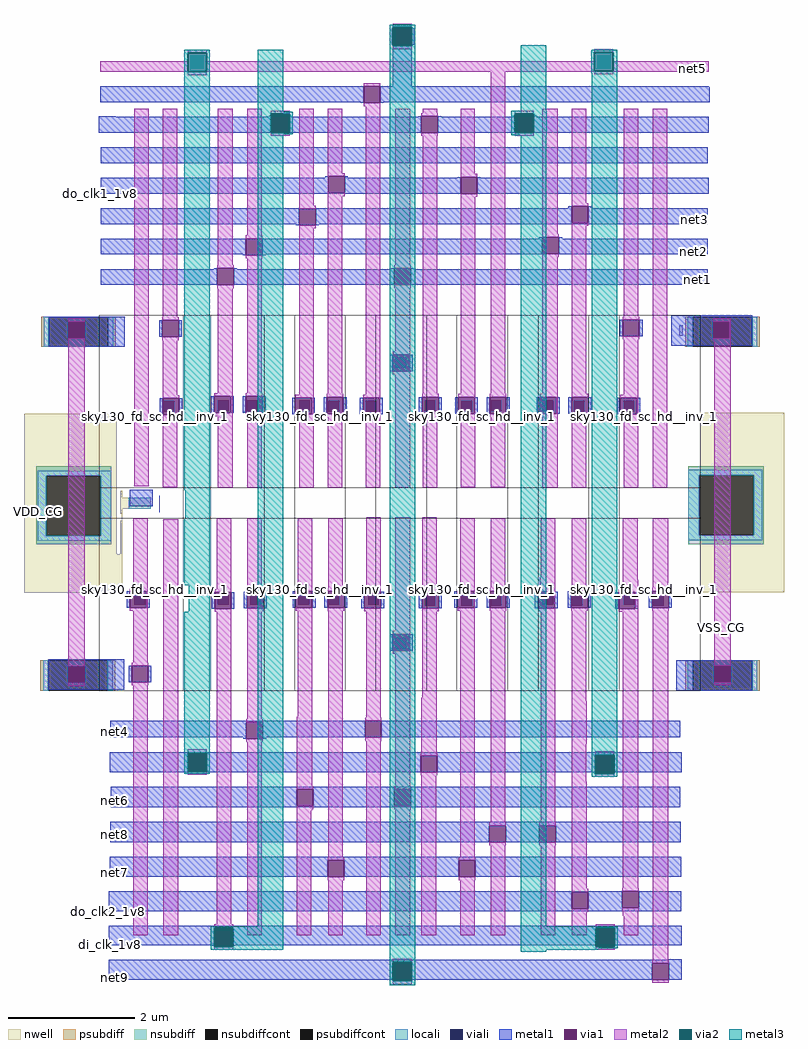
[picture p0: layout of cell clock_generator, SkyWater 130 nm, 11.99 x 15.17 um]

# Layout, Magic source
magic
tech sky130A
magscale 1 2
<< nwell >>
rect -1650 1348 -1358 1792
rect -1346 1526 -1340 1548
rect -1346 1492 -1250 1526
rect -1346 1476 -1340 1492
rect -1342 1454 -1340 1476
rect -1346 1348 -1340 1454
rect -1650 1228 -1340 1348
rect 484 1228 748 1794
rect -1650 1226 -1358 1228
<< psubdiff >>
rect -1596 2002 -1572 2098
rect -1384 2002 -1360 2098
rect 436 2002 460 2098
rect 648 2002 672 2098
rect -1598 918 -1574 1014
rect -1386 918 -1362 1014
rect 436 918 460 1014
rect 648 918 672 1014
<< nsubdiff >>
rect -1612 1596 -1374 1626
rect -1612 1406 -1580 1596
rect -1408 1406 -1374 1596
rect -1612 1380 -1374 1406
rect 446 1598 684 1626
rect 446 1408 480 1598
rect 652 1408 684 1598
rect 446 1380 684 1408
<< psubdiffcont >>
rect -1572 2002 -1384 2098
rect 460 2002 648 2098
rect -1574 918 -1386 1014
rect 460 918 648 1014
<< nsubdiffcont >>
rect -1580 1406 -1408 1596
rect 480 1408 652 1598
<< locali >>
rect -1588 2002 -1572 2098
rect -1384 2002 -1368 2098
rect 417 2070 432 2071
rect 417 2037 428 2070
rect 444 2002 460 2098
rect 648 2002 664 2098
rect -1606 1596 -1374 1612
rect -1606 1406 -1580 1596
rect -1408 1406 -1374 1596
rect 446 1598 680 1614
rect -1320 1492 -1250 1526
rect -1606 1390 -1374 1406
rect 446 1408 480 1598
rect 652 1408 680 1598
rect 446 1392 680 1408
rect -1590 918 -1574 1014
rect -1386 918 -1370 1014
rect 444 918 460 1014
rect 648 918 664 1014
<< viali >>
rect -478 1936 -444 1970
rect -1210 1798 -1176 1832
rect -1038 1800 -1004 1834
rect -946 1800 -912 1834
rect -782 1800 -748 1834
rect -690 1798 -656 1832
rect -572 1798 -538 1832
rect -386 1800 -352 1834
rect -270 1798 -236 1832
rect -178 1800 -144 1834
rect -14 1800 20 1834
rect 84 1798 118 1832
rect 242 1798 276 1832
rect -1302 1188 -1268 1222
rect -1038 1188 -1004 1222
rect -936 1188 -902 1222
rect -784 1188 -750 1222
rect -690 1188 -656 1222
rect -564 1188 -530 1222
rect -386 1186 -352 1220
rect -270 1186 -236 1220
rect -178 1186 -144 1220
rect -14 1188 20 1222
rect 78 1186 112 1220
rect 242 1188 276 1222
rect 334 1186 368 1220
rect -478 1050 -444 1084
<< metal1 >>
rect -486 3008 -426 3012
rect -490 2956 -480 3008
rect -428 2956 -418 3008
rect -486 2824 -426 2956
rect -1410 2774 -578 2824
rect -588 2772 -578 2774
rect -526 2822 510 2824
rect -526 2774 514 2822
rect -526 2772 -516 2774
rect -1414 2728 -1360 2730
rect -878 2728 -868 2732
rect -1414 2680 -868 2728
rect -816 2728 -806 2732
rect -406 2728 -396 2730
rect -816 2680 -396 2728
rect -1414 2678 -396 2680
rect -344 2728 -334 2730
rect -106 2728 -96 2732
rect -344 2680 -96 2728
rect -44 2728 -34 2732
rect -44 2680 510 2728
rect -344 2678 510 2680
rect -1408 2582 508 2632
rect -700 2536 -690 2540
rect -1408 2488 -690 2536
rect -638 2536 -628 2540
rect -282 2536 -272 2538
rect -638 2488 -272 2536
rect -1408 2486 -272 2488
rect -220 2536 -210 2538
rect -220 2486 510 2536
rect 68 2440 78 2446
rect -1408 2438 78 2440
rect -1408 2390 -782 2438
rect -792 2386 -782 2390
rect -730 2394 78 2438
rect 130 2440 140 2446
rect 130 2394 508 2440
rect -730 2390 508 2394
rect -730 2386 -720 2390
rect -24 2344 -14 2348
rect -1408 2294 -950 2344
rect -960 2292 -950 2294
rect -898 2296 -14 2344
rect 38 2344 48 2348
rect 38 2296 508 2344
rect -898 2294 508 2296
rect -898 2292 -888 2294
rect -1050 2248 -1040 2250
rect -1408 2198 -1040 2248
rect -988 2248 -978 2250
rect -492 2248 -482 2250
rect -988 2198 -482 2248
rect -430 2248 -420 2250
rect -430 2198 508 2248
rect -1572 2082 -1332 2098
rect -1572 2030 -1510 2082
rect -1458 2030 -1332 2082
rect -1224 2034 -1214 2086
rect -1162 2034 -1152 2086
rect 230 2036 240 2088
rect 292 2036 302 2088
rect 392 2082 648 2102
rect -1572 2002 -1332 2030
rect 392 2030 524 2082
rect 576 2030 648 2082
rect 392 2006 648 2030
rect -496 1926 -486 1978
rect -434 1926 -424 1978
rect -1222 1788 -1212 1840
rect -1160 1788 -1150 1840
rect -1060 1794 -1050 1846
rect -998 1794 -988 1846
rect -960 1794 -950 1846
rect -898 1794 -888 1846
rect -804 1790 -794 1842
rect -742 1790 -732 1842
rect -704 1792 -694 1844
rect -642 1792 -632 1844
rect -590 1790 -580 1842
rect -528 1790 -518 1842
rect -404 1792 -394 1844
rect -342 1792 -332 1844
rect -290 1792 -280 1844
rect -228 1792 -218 1844
rect -190 1792 -180 1844
rect -128 1792 -118 1844
rect -32 1792 -22 1844
rect 30 1792 40 1844
rect 68 1792 78 1844
rect 130 1792 140 1844
rect 222 1790 232 1842
rect 284 1790 294 1842
rect -1316 1500 -1244 1552
rect -1224 1480 -1222 1532
rect -1326 1180 -1316 1232
rect -1264 1180 -1254 1232
rect -1058 1176 -1048 1228
rect -996 1176 -986 1228
rect -956 1178 -946 1230
rect -894 1178 -884 1230
rect -802 1180 -792 1232
rect -740 1180 -730 1232
rect -702 1180 -692 1232
rect -640 1180 -630 1232
rect -586 1178 -576 1230
rect -524 1178 -514 1230
rect -404 1178 -394 1230
rect -342 1178 -332 1230
rect -292 1180 -282 1232
rect -230 1180 -220 1232
rect -190 1180 -180 1232
rect -128 1180 -118 1232
rect -38 1178 -28 1230
rect 24 1178 34 1230
rect 66 1180 76 1232
rect 128 1180 138 1232
rect 216 1176 226 1228
rect 278 1176 288 1228
rect 322 1180 332 1232
rect 384 1180 394 1232
rect -496 1044 -486 1096
rect -434 1044 -424 1096
rect -1574 994 -1334 1016
rect 408 996 648 1014
rect -1574 942 -1510 994
rect -1458 942 -1334 994
rect -1320 944 -1310 996
rect -1258 944 -1248 996
rect 408 944 528 996
rect 580 944 648 996
rect -1574 920 -1334 942
rect 408 918 648 944
rect -1378 818 -574 822
rect -1378 770 -948 818
rect -958 766 -948 770
rect -896 770 -574 818
rect -522 770 420 822
rect -896 766 -886 770
rect -1380 718 426 724
rect -1380 666 -1130 718
rect -1078 712 426 718
rect -1078 666 -398 712
rect -1380 660 -398 666
rect -346 660 154 712
rect 206 660 426 712
rect -1376 606 420 614
rect -1376 554 -790 606
rect -738 554 -482 606
rect -430 554 420 606
rect -1376 550 420 554
rect -1378 492 422 504
rect -1378 440 -182 492
rect -130 440 -24 492
rect 28 440 422 492
rect -1380 382 424 394
rect -1380 330 -692 382
rect -640 330 -278 382
rect -226 330 424 382
rect -1382 282 238 284
rect -1382 230 78 282
rect 130 232 238 282
rect 290 232 424 284
rect 130 230 424 232
rect -1382 222 424 230
rect -1382 166 426 176
rect -1382 164 160 166
rect -1382 114 -1048 164
rect -1056 112 -1048 114
rect -996 114 160 164
rect 212 114 426 166
rect -996 112 -984 114
rect 384 68 426 70
rect -1382 58 426 68
rect -1382 6 -480 58
rect -428 6 332 58
rect 384 6 426 58
<< via1 >>
rect -480 2956 -428 3008
rect -578 2772 -526 2824
rect -868 2680 -816 2732
rect -396 2678 -344 2730
rect -96 2680 -44 2732
rect -690 2488 -638 2540
rect -272 2486 -220 2538
rect -782 2386 -730 2438
rect 78 2394 130 2446
rect -950 2292 -898 2344
rect -14 2296 38 2348
rect -1040 2198 -988 2250
rect -482 2198 -430 2250
rect -1510 2030 -1458 2082
rect -1214 2034 -1162 2086
rect 240 2036 292 2088
rect 524 2030 576 2082
rect -486 1970 -434 1978
rect -486 1936 -478 1970
rect -478 1936 -444 1970
rect -444 1936 -434 1970
rect -486 1926 -434 1936
rect -1212 1832 -1160 1840
rect -1212 1798 -1210 1832
rect -1210 1798 -1176 1832
rect -1176 1798 -1160 1832
rect -1212 1788 -1160 1798
rect -1050 1834 -998 1846
rect -1050 1800 -1038 1834
rect -1038 1800 -1004 1834
rect -1004 1800 -998 1834
rect -1050 1794 -998 1800
rect -950 1834 -898 1846
rect -950 1800 -946 1834
rect -946 1800 -912 1834
rect -912 1800 -898 1834
rect -950 1794 -898 1800
rect -794 1834 -742 1842
rect -794 1800 -782 1834
rect -782 1800 -748 1834
rect -748 1800 -742 1834
rect -794 1790 -742 1800
rect -694 1832 -642 1844
rect -694 1798 -690 1832
rect -690 1798 -656 1832
rect -656 1798 -642 1832
rect -694 1792 -642 1798
rect -580 1832 -528 1842
rect -580 1798 -572 1832
rect -572 1798 -538 1832
rect -538 1798 -528 1832
rect -580 1790 -528 1798
rect -394 1834 -342 1844
rect -394 1800 -386 1834
rect -386 1800 -352 1834
rect -352 1800 -342 1834
rect -394 1792 -342 1800
rect -280 1832 -228 1844
rect -280 1798 -270 1832
rect -270 1798 -236 1832
rect -236 1798 -228 1832
rect -280 1792 -228 1798
rect -180 1834 -128 1844
rect -180 1800 -178 1834
rect -178 1800 -144 1834
rect -144 1800 -128 1834
rect -180 1792 -128 1800
rect -22 1834 30 1844
rect -22 1800 -14 1834
rect -14 1800 20 1834
rect 20 1800 30 1834
rect -22 1792 30 1800
rect 78 1832 130 1844
rect 78 1798 84 1832
rect 84 1798 118 1832
rect 118 1798 130 1832
rect 78 1792 130 1798
rect 232 1832 284 1842
rect 232 1798 242 1832
rect 242 1798 276 1832
rect 276 1798 284 1832
rect 232 1790 284 1798
rect -1316 1222 -1264 1232
rect -1316 1188 -1302 1222
rect -1302 1188 -1268 1222
rect -1268 1188 -1264 1222
rect -1316 1180 -1264 1188
rect -1048 1222 -996 1228
rect -1048 1188 -1038 1222
rect -1038 1188 -1004 1222
rect -1004 1188 -996 1222
rect -1048 1176 -996 1188
rect -946 1222 -894 1230
rect -946 1188 -936 1222
rect -936 1188 -902 1222
rect -902 1188 -894 1222
rect -946 1178 -894 1188
rect -792 1222 -740 1232
rect -792 1188 -784 1222
rect -784 1188 -750 1222
rect -750 1188 -740 1222
rect -792 1180 -740 1188
rect -692 1222 -640 1232
rect -692 1188 -690 1222
rect -690 1188 -656 1222
rect -656 1188 -640 1222
rect -692 1180 -640 1188
rect -576 1222 -524 1230
rect -576 1188 -564 1222
rect -564 1188 -530 1222
rect -530 1188 -524 1222
rect -576 1178 -524 1188
rect -394 1220 -342 1230
rect -394 1186 -386 1220
rect -386 1186 -352 1220
rect -352 1186 -342 1220
rect -394 1178 -342 1186
rect -282 1220 -230 1232
rect -282 1186 -270 1220
rect -270 1186 -236 1220
rect -236 1186 -230 1220
rect -282 1180 -230 1186
rect -180 1220 -128 1232
rect -180 1186 -178 1220
rect -178 1186 -144 1220
rect -144 1186 -128 1220
rect -180 1180 -128 1186
rect -28 1222 24 1230
rect -28 1188 -14 1222
rect -14 1188 20 1222
rect 20 1188 24 1222
rect -28 1178 24 1188
rect 76 1220 128 1232
rect 76 1186 78 1220
rect 78 1186 112 1220
rect 112 1186 128 1220
rect 76 1180 128 1186
rect 226 1222 278 1228
rect 226 1188 242 1222
rect 242 1188 276 1222
rect 276 1188 278 1222
rect 226 1176 278 1188
rect 332 1220 384 1232
rect 332 1186 334 1220
rect 334 1186 368 1220
rect 368 1186 384 1220
rect 332 1180 384 1186
rect -486 1084 -434 1096
rect -486 1050 -478 1084
rect -478 1050 -444 1084
rect -444 1050 -434 1084
rect -486 1044 -434 1050
rect -1510 942 -1458 994
rect -1310 944 -1258 996
rect 528 944 580 996
rect -948 766 -896 818
rect -574 770 -522 822
rect -1130 666 -1078 718
rect -398 660 -346 712
rect 154 660 206 712
rect -790 554 -738 606
rect -482 554 -430 606
rect -182 440 -130 492
rect -24 440 28 492
rect -692 330 -640 382
rect -278 330 -226 382
rect 78 230 130 282
rect 238 232 290 284
rect -1048 112 -996 164
rect 160 114 212 166
rect -480 6 -428 58
rect 332 6 384 58
<< metal2 >>
rect -486 3012 -426 3022
rect -486 2942 -426 2952
rect -1134 2930 -1074 2940
rect -1410 2870 -1134 2904
rect 150 2932 210 2942
rect -1074 2872 150 2904
rect 210 2872 510 2904
rect -1074 2870 510 2872
rect -1134 2860 -1074 2870
rect -578 2824 -526 2834
rect -578 2762 -526 2772
rect -1510 2082 -1458 2092
rect -1510 994 -1458 2030
rect -1302 1562 -1256 2754
rect -1212 2096 -1166 2754
rect -1038 2260 -992 2754
rect -946 2354 -900 2754
rect -872 2738 -812 2748
rect -872 2668 -812 2678
rect -782 2448 -736 2754
rect -692 2550 -646 2754
rect -692 2540 -638 2550
rect -692 2488 -690 2540
rect -692 2478 -638 2488
rect -782 2438 -730 2448
rect -782 2376 -730 2386
rect -950 2344 -898 2354
rect -950 2282 -898 2292
rect -1040 2250 -988 2260
rect -1040 2188 -988 2198
rect -1214 2086 -1162 2096
rect -1214 2024 -1162 2034
rect -1212 1850 -1166 2024
rect -1038 1856 -992 2188
rect -946 1856 -900 2282
rect -1212 1840 -1160 1850
rect -1212 1778 -1160 1788
rect -1050 1846 -992 1856
rect -998 1794 -992 1846
rect -1050 1784 -992 1794
rect -950 1846 -898 1856
rect -782 1852 -736 2376
rect -692 1854 -646 2478
rect -950 1784 -898 1794
rect -794 1842 -736 1852
rect -742 1790 -736 1842
rect -1212 1560 -1166 1778
rect -1038 1558 -992 1784
rect -946 1558 -900 1784
rect -794 1780 -736 1790
rect -694 1844 -642 1854
rect -572 1852 -526 2762
rect -478 2260 -432 2754
rect -392 2740 -346 2754
rect -396 2730 -344 2740
rect -396 2668 -344 2678
rect -482 2250 -430 2260
rect -482 2188 -430 2198
rect -478 1988 -432 2188
rect -486 1978 -432 1988
rect -434 1926 -432 1978
rect -486 1916 -432 1926
rect -694 1782 -642 1792
rect -580 1842 -526 1852
rect -528 1790 -526 1842
rect -782 1558 -736 1780
rect -692 1558 -646 1782
rect -580 1780 -526 1790
rect -572 1558 -526 1780
rect -478 1558 -432 1916
rect -392 1854 -346 2668
rect -272 2548 -228 2754
rect -272 2538 -220 2548
rect -272 2476 -220 2486
rect -272 1854 -226 2476
rect -178 1854 -132 2870
rect 150 2862 210 2870
rect -102 2738 -42 2748
rect -102 2668 -42 2678
rect -14 2358 34 2754
rect 78 2456 124 2754
rect 78 2446 130 2456
rect 78 2384 130 2394
rect -14 2348 38 2358
rect -14 2286 38 2296
rect -14 1854 34 2286
rect -394 1844 -342 1854
rect -394 1782 -342 1792
rect -280 1844 -226 1854
rect -228 1792 -226 1844
rect -280 1782 -226 1792
rect -180 1844 -128 1854
rect -180 1782 -128 1792
rect -22 1844 34 1854
rect 30 1792 34 1844
rect -22 1782 34 1792
rect -392 1558 -346 1782
rect -272 1560 -226 1782
rect -178 1560 -132 1782
rect -14 1558 34 1782
rect 78 1854 124 2384
rect 242 2098 288 2754
rect 240 2088 292 2098
rect 240 2026 292 2036
rect 78 1844 130 1854
rect 242 1852 288 2026
rect 78 1782 130 1792
rect 232 1842 288 1852
rect 284 1790 288 1842
rect 78 1558 124 1782
rect 232 1780 288 1790
rect 242 1558 288 1780
rect 334 1558 380 2754
rect 524 2082 580 2092
rect 576 2030 580 2082
rect 524 2020 580 2030
rect -1306 1242 -1260 1462
rect -1316 1232 -1260 1242
rect -1264 1180 -1260 1232
rect -1316 1170 -1260 1180
rect -1306 1006 -1260 1170
rect -1510 932 -1458 942
rect -1310 996 -1258 1006
rect -1310 934 -1258 944
rect -1306 146 -1260 934
rect -1210 146 -1164 1458
rect -1042 1238 -996 1462
rect -1048 1228 -996 1238
rect -1048 1166 -996 1176
rect -1134 722 -1074 732
rect -1134 652 -1074 662
rect -1042 180 -996 1166
rect -946 1240 -900 1462
rect -786 1242 -740 1462
rect -690 1242 -644 1462
rect -946 1230 -894 1240
rect -946 1168 -894 1178
rect -792 1232 -740 1242
rect -792 1170 -740 1180
rect -692 1232 -640 1242
rect -570 1240 -524 1464
rect -692 1170 -640 1180
rect -576 1230 -524 1240
rect -946 828 -900 1168
rect -786 836 -740 1170
rect -948 818 -896 828
rect -948 756 -896 766
rect -1050 170 -990 180
rect -946 146 -900 756
rect -790 616 -740 836
rect -790 606 -738 616
rect -790 544 -738 554
rect -790 540 -740 544
rect -790 146 -744 540
rect -690 392 -644 1170
rect -576 1168 -524 1178
rect -570 832 -524 1168
rect -478 1106 -432 1464
rect -486 1096 -432 1106
rect -434 1044 -432 1096
rect -486 1034 -432 1044
rect -574 822 -522 832
rect -574 760 -522 770
rect -692 382 -640 392
rect -692 320 -640 330
rect -690 146 -644 320
rect -570 146 -524 760
rect -478 616 -432 1034
rect -394 1240 -348 1464
rect -274 1242 -228 1462
rect -178 1242 -132 1462
rect -20 1276 26 1462
rect -394 1230 -342 1240
rect -394 1168 -342 1178
rect -282 1232 -228 1242
rect -230 1180 -228 1232
rect -282 1170 -228 1180
rect -180 1232 -128 1242
rect -22 1240 26 1276
rect 78 1242 124 1462
rect 240 1266 286 1462
rect -180 1170 -128 1180
rect -28 1230 26 1240
rect 24 1178 26 1230
rect -394 896 -348 1168
rect -396 722 -348 896
rect -398 712 -346 722
rect -398 650 -346 660
rect -482 606 -430 616
rect -482 544 -430 554
rect -478 146 -432 544
rect -396 146 -350 650
rect -274 392 -228 1170
rect -178 502 -132 1170
rect -28 1168 26 1178
rect 76 1232 128 1242
rect 240 1238 288 1266
rect 334 1242 382 1462
rect 76 1170 128 1180
rect 226 1228 288 1238
rect 278 1176 288 1228
rect -20 502 26 1168
rect 78 884 124 1170
rect 226 1166 288 1176
rect 332 1232 384 1242
rect 332 1170 384 1180
rect 78 750 126 884
rect 78 630 124 750
rect 152 716 212 726
rect 152 646 212 656
rect -182 492 -130 502
rect -182 430 -130 440
rect -24 492 28 502
rect -24 430 28 440
rect -278 382 -226 392
rect -278 320 -226 330
rect -274 146 -228 320
rect -178 146 -132 430
rect -20 146 26 430
rect 78 292 126 630
rect 240 294 288 1166
rect 78 282 130 292
rect 78 220 130 230
rect 238 284 290 294
rect 238 222 290 232
rect 78 148 126 220
rect 240 208 288 222
rect 80 146 126 148
rect 154 170 214 180
rect -1050 100 -990 110
rect 242 146 288 208
rect 154 100 214 110
rect -486 62 -426 72
rect 334 68 382 1170
rect 528 996 580 2020
rect 528 934 580 944
rect -486 -8 -426 2
rect 332 58 384 68
rect 332 -4 384 6
<< via2 >>
rect -486 3008 -426 3012
rect -486 2956 -480 3008
rect -480 2956 -428 3008
rect -428 2956 -426 3008
rect -486 2952 -426 2956
rect -1134 2870 -1074 2930
rect 150 2872 210 2932
rect -872 2732 -812 2738
rect -872 2680 -868 2732
rect -868 2680 -816 2732
rect -816 2680 -812 2732
rect -872 2678 -812 2680
rect -102 2732 -42 2738
rect -102 2680 -96 2732
rect -96 2680 -44 2732
rect -44 2680 -42 2732
rect -102 2678 -42 2680
rect -1134 718 -1074 722
rect -1134 666 -1130 718
rect -1130 666 -1078 718
rect -1078 666 -1074 718
rect -1134 662 -1074 666
rect -1050 164 -990 170
rect -1050 112 -1048 164
rect -1048 112 -996 164
rect -996 112 -990 164
rect 152 712 212 716
rect 152 660 154 712
rect 154 660 206 712
rect 206 660 212 712
rect 152 656 212 660
rect 154 166 214 170
rect -1050 110 -990 112
rect 154 114 160 166
rect 160 114 212 166
rect 212 114 214 166
rect 154 110 214 114
rect -486 58 -426 62
rect -486 6 -480 58
rect -480 6 -428 58
rect -428 6 -426 58
rect -486 2 -426 6
<< metal3 >>
rect -496 3012 -416 3018
rect -496 2952 -486 3012
rect -426 2952 -416 3012
rect -1144 2930 -1064 2940
rect -1144 2870 -1134 2930
rect -1074 2870 -1064 2930
rect -1144 1550 -1064 2870
rect -1142 1458 -1064 1550
rect -1144 1250 -1064 1458
rect -1130 1166 -1064 1250
rect -1144 722 -1064 1166
rect -1144 662 -1134 722
rect -1074 662 -1064 722
rect -1144 656 -1064 662
rect -912 2744 -832 2940
rect -912 2738 -802 2744
rect -912 2678 -872 2738
rect -812 2678 -802 2738
rect -912 2673 -802 2678
rect -1060 174 -980 175
rect -912 174 -832 2673
rect -1060 170 -832 174
rect -1060 110 -1050 170
rect -990 110 -832 170
rect -1060 100 -832 110
rect -496 62 -416 2952
rect -82 2748 -2 2954
rect 142 2937 222 2940
rect 140 2932 222 2937
rect 140 2872 150 2932
rect 210 2872 222 2932
rect 140 2867 222 2872
rect -112 2738 0 2748
rect -112 2678 -102 2738
rect -42 2678 0 2738
rect -112 2670 0 2678
rect -82 174 -2 2670
rect 142 716 222 2867
rect 142 656 152 716
rect 212 656 222 716
rect 142 646 222 656
rect 144 174 224 175
rect -82 170 224 174
rect -82 110 154 170
rect 214 110 224 170
rect -82 105 224 110
rect -82 100 162 105
rect -82 94 -2 100
rect -496 2 -486 62
rect -426 2 -416 62
rect -496 -12 -416 2
use sky130_fd_sc_hd__inv_1  sky130_fd_sc_hd__inv_1_0 pdks/sky130A/libs.ref/sky130_fd_sc_hd/mag
transform 1 0 -854 0 1 966
box -38 -48 314 592
use sky130_fd_sc_hd__inv_1  sky130_fd_sc_hd__inv_1_1
transform 1 0 -342 0 1 966
box -38 -48 314 592
use sky130_fd_sc_hd__inv_1  sky130_fd_sc_hd__inv_1_2
transform 1 0 -86 0 1 966
box -38 -48 314 592
use sky130_fd_sc_hd__inv_1  sky130_fd_sc_hd__inv_1_3
transform 1 0 170 0 1 966
box -38 -48 314 592
use sky130_fd_sc_hd__inv_1  sky130_fd_sc_hd__inv_1_4
transform 1 0 170 0 -1 2054
box -38 -48 314 592
use sky130_fd_sc_hd__inv_1  sky130_fd_sc_hd__inv_1_5
transform 1 0 -1110 0 1 966
box -38 -48 314 592
use sky130_fd_sc_hd__inv_1  sky130_fd_sc_hd__inv_1_7
transform -1 0 -1098 0 -1 2054
box -38 -48 314 592
use sky130_fd_sc_hd__inv_1  sky130_fd_sc_hd__inv_1_8
transform 1 0 -1110 0 -1 2054
box -38 -48 314 592
use sky130_fd_sc_hd__inv_1  sky130_fd_sc_hd__inv_1_9
transform 1 0 -854 0 -1 2054
box -38 -48 314 592
use sky130_fd_sc_hd__inv_1  sky130_fd_sc_hd__inv_1_10
transform 1 0 -342 0 -1 2054
box -38 -48 314 592
use sky130_fd_sc_hd__inv_1  sky130_fd_sc_hd__inv_1_11
transform 1 0 -86 0 -1 2054
box -38 -48 314 592
use sky130_fd_sc_hd__inv_1  sky130_fd_sc_hd__inv_1_12
transform 1 0 -1374 0 1 966
box -38 -48 314 592
use sky130_fd_sc_hd__nand2_1  sky130_fd_sc_hd__nand2_1_1 pdks/sky130A/libs.ref/sky130_fd_sc_hd/mag
transform 1 0 -598 0 -1 2054
box -38 -48 314 592
use sky130_fd_sc_hd__nand2_1  sky130_fd_sc_hd__nand2_1_2
transform 1 0 -598 0 1 966
box -38 -48 314 592
<< labels >>
rlabel metal1 474 2216 474 2216 1 net1
rlabel metal1 464 2302 464 2302 1 net2
rlabel metal1 466 2404 466 2404 1 net3
rlabel metal2 460 2882 460 2882 1 net5
rlabel metal1 -1364 790 -1364 790 1 net4
rlabel metal1 -1366 572 -1366 572 1 net6
rlabel metal1 -1366 344 -1366 344 1 net7
rlabel metal1 -1366 464 -1366 464 1 net8
rlabel metal1 -1366 12 -1366 12 1 net9
flabel metal1 -1382 222 -1382 222 1 FreeSans 160 0 0 0 do_clk2_1v8
port 3 n
flabel metal2 550 1118 550 1118 1 FreeSans 160 0 0 0 VSS_CG
port 1 n
flabel locali -1604 1484 -1604 1484 1 FreeSans 160 0 0 0 VDD_CG
port 4 n
flabel metal1 -1408 2486 -1408 2486 1 FreeSans 160 0 0 0 do_clk1_1v8
port 2 n
flabel metal1 -1382 114 -1370 120 1 FreeSans 160 0 0 0 di_clk_1v8
port 0 n
<< end >>
